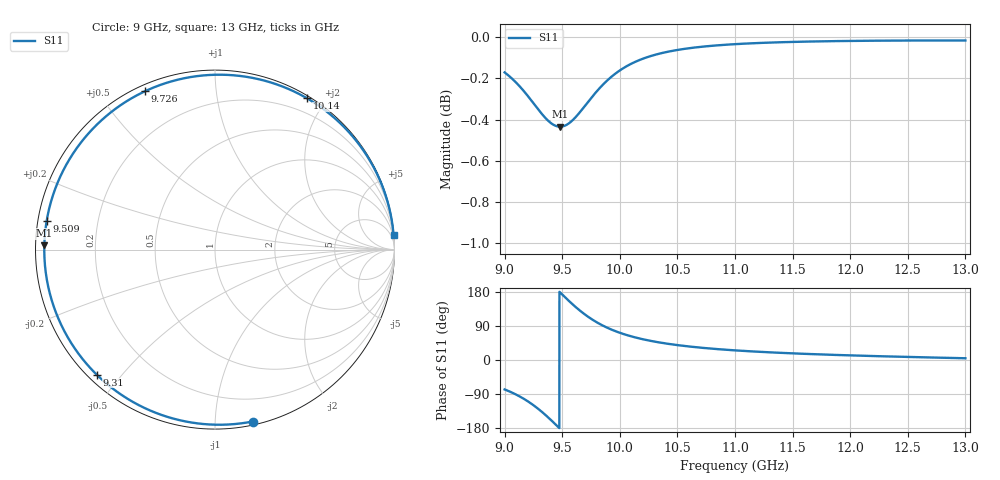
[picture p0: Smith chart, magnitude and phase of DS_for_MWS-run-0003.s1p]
! TOUCHSTONE file generated by CST DESIGN STUDIO
! Date and time: Tue Feb  4 13:59:12 2025
! Project name: C:\Work\MatlabApps\UnitCellOptimizationMatlab\CST\unitcell.cst
! Tree item: Tasks\Sweep1\SPara1\S-Parameters
! Header version: 2024
! Port assignment regex: !\s*Touchstone port\s*([0-9]+)\s*=\s*(CST MWS port|CST DES external port|CST DES block port)\s*(.+)\s* \(\"(.*)\"\)(\s*mode\s*([0-9]+))?.*
! Touchstone port assignment:
! Touchstone port 1 = CST DES external port 1 ("")
# GHz S MA R 50
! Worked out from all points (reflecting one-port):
!   4001 points, 9 GHz to 13 GHz, reference 50 ohm
!   lowest |S11| = -0.4 dB at 9.481 GHz (marker M1), VSWR 40.00, Z = 1.25 + j0.653 ohm
!   phase of S11 starts at -78 deg and turns -278 deg over the sweep
!   S11 on the Smith chart (normalised r, x): 9 GHz: 0.02, -1.24; 9.31 GHz: 0.02, -0.43; 9.509 GHz: 0.03, +0.09; 9.726 GHz: 0.03, +0.65; 10.14 GHz: 0.03, +1.78; 13 GHz: 1, +25
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9  0.9806 -77.7
9.078  0.9763 -88.0
9.177  0.9696 -104.3
9.246  0.9642 -118.3
9.31  0.959 -133.4
9.355  0.9558 -145.2
9.403  0.9531 -158.6
9.443  0.9517 -170.2
9.481  0.9512 178.5
9.5  0.9513 172.9
9.509  0.9515 170.2
9.561  0.9531 155.1
9.621  0.9566 138.7
9.673  0.9604 125.7
9.726  0.9646 113.8
9.781  0.9688 102.9
9.842  0.9731 92.5
9.92  0.9778 81.3
10  0.9816 71.8
10.145  0.9867 58.7
10.306  0.9903 48.3
10.5  0.993 39.3
10.722  0.9948 32.0
11  0.9962 25.4
11.5  0.9974 17.5
12  0.998 12.2
12.5  0.9982 8.1
13  0.9982 4.6
